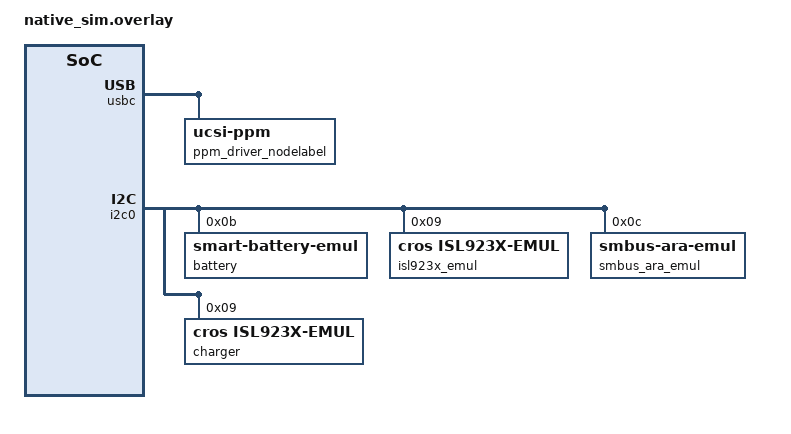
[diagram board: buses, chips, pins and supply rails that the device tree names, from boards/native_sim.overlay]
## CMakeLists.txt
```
# Copyright 2024 The ChromiumOS Authors
# Use of this source code is governed by a BSD-style license that can be
# found in the LICENSE file.

cmake_minimum_required(VERSION 3.13.1)
find_package(Zephyr REQUIRED HINTS "${ZEPHYR_BASE}")
project(pdc)

# Include FFF fakes
add_subdirectory(${PLATFORM_EC}/zephyr/test/test_utils test_utils)

zephyr_include_directories(include)

target_sources(app PRIVATE src/main.c)
target_sources(app PRIVATE src/fakes.c)

target_sources_ifdef(CONFIG_TEST_PDC_MESSAGE_TRACING  app PRIVATE
	src/util_pcap.c
	src/pdc_trace_msg.c)

if (DEFINED CONFIG_TEST_SUITE_PDC_API)
	target_sources(app PRIVATE src/generic/pdc_api.c)
endif()

if (DEFINED CONFIG_TEST_SUITE_PDC_GENERIC)
	target_sources(app PRIVATE src/generic/pdc_attached_snk.c)
	target_sources(app PRIVATE src/generic/pdc_power_mgmt_api.c)
	target_sources(app PRIVATE src/generic/pdc_pmc_debug_api.c)
	target_sources_ifdef(CONFIG_PDC_RUNTIME_PORT_CONFIG
		app PRIVATE src/board_runtime_config.c)
endif()

if (DEFINED CONFIG_TEST_SUITE_PDC_UTILS)
	target_sources(app PRIVATE src/generic/usb_utils.c)
endif()

if (DEFINED CONFIG_TEST_SUITE_PDC_POLICY)
	target_sources(app PRIVATE src/pdc_policy/non_pd_policy.c)
	target_sources(app PRIVATE src/pdc_policy/select_best_pdo.c)
	target_sources(app PRIVATE src/pdc_policy/src_policy_common.c)
	target_sources(app PRIVATE src/pdc_policy/src_policy_3a_port.c)
	target_sources(app PRIVATE src/pdc_policy/src_policy_battery_overload.c)
endif()

if (DEFINED CONFIG_TEST_SUITE_PDC_POLICY_SRC_NO_3A)
	target_sources(app PRIVATE src/pdc_policy/src_policy_common.c)
	target_sources(app PRIVATE src/pdc_policy/src_policy_no_3a_port.c)
endif()

if (DEFINED CONFIG_TEST_SUITE_PDC_POLICY_SINK)
	target_sources(app PRIVATE src/pdc_policy/sink_policy.c)
endif()

if (DEFINED CONFIG_TEST_SUITE_PDC_BATTERY_STATUS)
	target_sources(app PRIVATE src/generic/pdc_battery_status.c)
endif()

if (DEFINED CONFIG_TEST_PDC_POLICY_DEAD_BATTERY_TWO_CHARGERS)
	target_sources(app PRIVATE src/pdc_policy/dead_battery_policy.c)
	target_sources(app PRIVATE src/pdc_policy/dead_battery_two_chargers.c)
endif()

if (DEFINED CONFIG_TEST_PDC_POLICY_DEAD_BATTERY_AC_ONLY_AP_ON)
	target_sources(app PRIVATE src/pdc_policy/dead_battery_policy.c)
	target_sources(app PRIVATE src/pdc_policy/dead_battery_ac_only_ap_on.c)
endif()

if (DEFINED CONFIG_TEST_PDC_POLICY_DEAD_BATTERY_AC_ONLY_AP_OFF)
	target_sources(app PRIVATE src/pdc_policy/dead_battery_policy.c)
	target_sources(app PRIVATE src/pdc_policy/dead_battery_ac_only_ap_off.c)
endif()

if (DEFINED CONFIG_TEST_SUITE_PDC_POLICY_CLAMPED)
	target_sources(app PRIVATE src/pdc_policy/select_best_pdo_clamped.c)
endif()

if (DEFINED CONFIG_TEST_SUITE_PDC_POLICY_VARIABLE)
	target_sources(app PRIVATE src/pdc_policy/select_best_pdo_variable.c)
endif()

if (DEFINED CONFIG_TEST_SUITE_PDC_API_NULL_CHECK)
	target_sources(app PRIVATE src/generic/pdc_null_api.c)
endif()

if (DEFINED CONFIG_TEST_SUITE_PDC_DEVICE_NOT_READY)
	target_sources(app PRIVATE src/generic/device_not_ready.c)
endif()

if (DEFINED CONFIG_TEST_SUITE_PDC_RTS54XX)
	target_sources(app PRIVATE src/rts54xx/rts54xx.c)
endif()

if (DEFINED CONFIG_TEST_SUITE_PDC_IT52XX)
	target_sources(app PRIVATE src/it52xx/it52xx.c)
endif()

if (DEFINED CONFIG_TEST_SUITE_PDC_TPS6699X)
	zephyr_include_directories(${PLATFORM_EC}/zephyr/drivers/usbc)
	target_sources(app PRIVATE src/tps6699x/tps6699x.c)
endif()

if (DEFINED CONFIG_TEST_SUITE_PDC_RETIMER_FW_UPDATE)
	target_sources(app PRIVATE src/generic/retimer_fw_update.c)
endif()

if (DEFINED CONFIG_TEST_SUITE_PDC_CONSOLE)
	target_sources(app PRIVATE src/generic/pdc_console.c)
	target_sources(app PRIVATE src/mock_pdc_power_mgmt.c)
endif()

if (DEFINED CONFIG_TEST_SUITE_PDC_HOSTCMD)
	target_sources(app PRIVATE src/generic/pdc_host_cmd.c)
	target_sources(app PRIVATE src/mock_pdc_power_mgmt.c)
endif()

if (DEFINED CONFIG_TEST_SUITE_UCSI_HOSTCMD)
	target_sources(app PRIVATE src/generic/ucsi_host_cmd.c)
	target_sources(app PRIVATE ${PLATFORM_EC}/zephyr/subsys/ucsi/ucsi_host_cmd.c)
endif()

if (DEFINED CONFIG_TEST_SUITE_PPM)
	zephyr_include_directories(${PLATFORM_EC}/zephyr/subsys/ucsi)
	target_sources(app PRIVATE src/generic/ppm.c)
	target_sources(app PRIVATE src/generic/ucsi_ppm_host_cmd.c)
	target_sources_ifdef(CONFIG_PDC_RUNTIME_PORT_CONFIG
		app PRIVATE src/board_runtime_config.c)
endif()

if (DEFINED CONFIG_TEST_SUITE_PPM_CONSOLE)
	target_sources(app PRIVATE ${PLATFORM_EC}/zephyr/subsys/ucsi/ppm_console.c)
	target_sources(app PRIVATE src/generic/ppm_console.c)
endif()

if (DEFINED CONFIG_TEST_SUITE_PDC_PMC_USB_MUX)
	target_sources(app PRIVATE src/generic/pdc_pmc_usb_mux.c)
endif()

if (DEFINED CONFIG_TEST_SUITE_PPM_DRIVER)
	target_sources(app PRIVATE src/generic/ppm_driver.c)
	target_sources(app PRIVATE ${PLATFORM_EC}/zephyr/subsys/ucsi/ppm_driver.c)
endif()

if (DEFINED CONFIG_TEST_SUITE_PDC_UCSI)
	target_sources(app PRIVATE src/ucsi/ucsi.c)
endif()

if (DEFINED CONFIG_TEST_SUITE_PPM_STATE_MACHINE)
	target_sources(app PRIVATE src/generic/ppm_state_machine.c)

	zephyr_include_directories(${PLATFORM_EC}/zephyr/subsys/ucsi)
	target_sources(app PRIVATE ${PLATFORM_EC}/zephyr/subsys/ucsi/ppm_common.c)
endif()

if (DEFINED CONFIG_TEST_SUITE_PDC_TRACE_MSG)
	target_sources(app PRIVATE src/generic/pdc_trace_msg.c)
endif()

if (DEFINED CONFIG_TEST_SUITE_PDC_RUNTIME_PORT_CONFIG)
	target_sources_ifdef(CONFIG_TEST_PDC_RUNTIME_CONFIG_SCENARIO_NO_PDCS
		app PRIVATE src/runtime_config/no_pdcs.c)
	target_sources_ifdef(CONFIG_TEST_PDC_RUNTIME_CONFIG_SCENARIO_ONE_PDC
		app PRIVATE src/runtime_config/one_pdc.c)
	target_sources_ifdef(CONFIG_TEST_PDC_RUNTIME_CONFIG_SCENARIO_DISCONT
		app PRIVATE src/runtime_config/discontiguous.c)
	target_sources_ifdef(CONFIG_TEST_PDC_RUNTIME_CONFIG_SCENARIO_TWO_PDCS
		app PRIVATE src/runtime_config/two_pdcs.c)
endif()

if (DEFINED CONFIG_TEST_SUITE_PDC_COMMS_SUSPEND_RESUME)
	target_sources(app PRIVATE src/generic/pdc_comms_suspend_resume.c)
endif()
```

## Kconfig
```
# Copyright 2024 The ChromiumOS Authors
# Use of this source code is governed by a BSD-style license that can be
# found in the LICENSE file.

config TEST_NO_PDC_INIT
	bool "Do not autoinit pdc devices"

config TEST_SUITE_PDC_API
	bool "Enable generic PDC driver API tests"

config TEST_SUITE_PDC_GENERIC
	bool "Enable generic pdc_power_mgmt tests"

config TEST_SUITE_PDC_UTILS
	bool "Enable PDC utility tests"

config TEST_SUITE_PDC_API_NULL_CHECK
	bool "Enable PDC API null-protection checks"

config TEST_SUITE_PDC_DEVICE_NOT_READY
	bool "Enable PDC subsystem tests for device-not-ready"

config TEST_SUITE_PDC_POLICY
	bool "Enable PDC policy tests"

config TEST_SUITE_PDC_POLICY_SRC_NO_3A
	bool "Enable PDC src policy tests with no 3A port"

config TEST_SUITE_PDC_POLICY_SINK
	bool "Enable PDC policy sink tests"

config TEST_SUITE_PDC_BATTERY_STATUS
  bool "Enable PDC battery status tests"

config TEST_SUITE_PDC_POLICY_DEAD_BATTERY
	bool "Enable PDC Dead Battery policy tests"

config TEST_SUITE_PDC_COMMS_SUSPEND_RESUME
	bool "Enable PDC communication suspend and resume tests"

config TEST_PDC_POLICY_DEAD_BATTERY_TWO_CHARGERS
	select TEST_SUITE_PDC_POLICY_DEAD_BATTERY
	bool "Validate dead battery with two connected chargers"

config TEST_PDC_POLICY_DEAD_BATTERY_AC_ONLY_AP_ON
	select TEST_SUITE_PDC_POLICY_DEAD_BATTERY
	bool "Validate dead battery with AC connected, no battery, and AP on"

config TEST_PDC_POLICY_DEAD_BATTERY_AC_ONLY_AP_OFF
	select TEST_SUITE_PDC_POLICY_DEAD_BATTERY
	bool "Validate dead battery with AC connected, no battery, and AP off"

config TEST_SUITE_PDC_POLICY_CLAMPED
	bool "Enable PDC policy tests with clamped power"

config TEST_SUITE_PDC_POLICY_VARIABLE
	bool "Enable PDC policy tests to verify variabled PDOs"

config TEST_SUITE_PDC_PMC_USB_MUX
	bool "Enable PDC PMC USB mux tests"

config TEST_SUITE_PDC_RTS54XX
	bool "Enable RTS54xx PDC tests"

config TEST_SUITE_PDC_TPS6699X
	bool "Enable TPS6699x PDC tests"

config TODO_B_345292002
	bool "Disable tests that fail for TPS6699x PDC config"
	help
	  Enable this config for pdc.generic.tps6699x to disable tests that
	  currently fail. As b/345292002 progresses, the amount of code
	  protected by this config should go down.

config TEST_SUITE_PDC_RETIMER_FW_UPDATE
	bool "Enable retimer FW update tests"

config TEST_SUITE_PDC_CONSOLE
	bool "Enable pdc console command tests"

config TEST_SUITE_PDC_HOSTCMD
	bool "Enable PDC host command tests"

config TEST_SUITE_UCSI_HOSTCMD
	bool "Enable UCSI host command tests"

config TEST_SUITE_PPM
	bool "Enable UCSI PPM tests"
	help
	  Enable tests for the PPM of the UCSI. This suite tests our PPM from
	  the perspective of the UCSI spec. All layers use the actual code
	  (ppm_common, ppm_driver, pdc_driver) and mocking is discouraged.
	  Inputs to the tests are controlled through a PDC emulator.

config TEST_SUITE_PPM_CONSOLE
	bool "Enable tests for the `ppm` console command"
	help
	  Run a test suite covering the `ppm` console command, which sends
	  various UCSI commands from the EC console for testing and debugging
	  purposes.

config TEST_SUITE_PPM_DRIVER
	bool "Enable PPM driver tests"
	help
	  Enable tests for the lower layer (ppm_driver) of the PPM. This suite
	  exercises the behaviors specific to the implementation. Mocking the
	  upper layer (ppm_common) and lower layer (pdc driver) is used to cover
	  corner cases.

config TEST_SUITE_PDC_UCSI
	bool "Enable UCSI tests"

config TEST_SUITE_PPM_STATE_MACHINE
	bool "Enable PPM state machine tests"
	help
	  Enable tests for the state machine (ppm_common) of the PPM.

config TEST_PDC_MESSAGE_TRACING
	bool "Enable PDC message tracing"
	help
	  Capture PDC messages between the EC and the PDC chip. These
	  can be standard UCSI messages or vendor specific messages such
	  as those defined for the rts54xx chip. Message data is
	  reported in the test run logs and in a separate "rts.pcap"
	  file in PCAP capture file format.

config TEST_SUITE_PDC_TRACE_MSG
	bool "Enable PDC message tracing tests"
	depends on !TEST_PDC_MESSAGE_TRACING
	help
	  No help.

	  These tests are incompatible with TEST_PDC_MESSAGE_TRACING
	  since that config enables an alternate implementation of the
	  code to be tested here.

config TEST_DISABLE_INLINE_CHIPSET_IN_STATE
	bool "Disable chipset_in_state inline method"
	help
	  This is used to not define chipset_in_state method as inline
	  function.

config TEST_SUITE_PDC_RUNTIME_PORT_CONFIG
	bool "Enable PDC runtime port config tests"
	help
	  Run tests for the runtime USB-C port configuration feature

config TEST_SKIP_EC_APP_MAIN
	bool "Skip running ec_app_main()"
	help
	  Some tests intentionally create errors, like incorrect
	  initialization order, and verify the error handling paths.
	  The ec_app_main() is broken in these cases.

choice TEST_PDC_RUNTIME_CONFIG_SCENARIO
	prompt "Select a PDC topology to set up at runtime"
	depends on TEST_SUITE_PDC_RUNTIME_PORT_CONFIG

config TEST_PDC_RUNTIME_CONFIG_SCENARIO_NO_PDCS
	bool "Cause an error while reading board PDC config"
	help
	  Return an error from `board_get_pdc_for_port()`, causing no PDCs to be
	  initialized.

config TEST_PDC_RUNTIME_CONFIG_SCENARIO_ONE_PDC
	bool "Enable C0 but not C1"
	help
	  Activate one of two ports from `board_get_pdc_for_port()`

config TEST_PDC_RUNTIME_CONFIG_SCENARIO_DISCONT
	bool "Disable C0 but enable C1"
	help
	  Activate only the second port from `board_get_pdc_for_port()`

config TEST_PDC_RUNTIME_CONFIG_SCENARIO_TWO_PDCS
	bool "Enable C0 and enable C1"
	help
	  Activate both ports from `board_get_pdc_for_port()`

endchoice

config TEST_PDC_DISABLE_C1
	bool "Don't initialize port C1"
	depends on PDC_RUNTIME_PORT_CONFIG
	help
	  Use this when testing runtime port configuration to enable only one
	  of the two PDC ports.

config TEST_SNIFF_POWER_MGMT_PDC_APIS
	bool "Enable PDC sniffing APIs in pdc_power_mgmt for tests"
	help
	  This is used to allow tests to create sniffing PDC APIs in
	  pdc_power_mgmt.c that can be mocked in tests.

configdefault PLATFORM_EC_CHARGER_ISL9238
	default y if DT_HAS_INTERSIL_ISL923X_ENABLED || DT_HAS_CROS_ISL923X_EMUL_ENABLED

configdefault PLATFORM_EC_CHARGER_RAA489110
	default y if DT_HAS_INTERSIL_ISL9241_ENABLED

configdefault FLASH
	default y if DT_HAS_CROS_EC_FLASH_EMUL_ENABLED

configdefault ESPI
	default y if DT_HAS_ZEPHYR_ESPI_EMUL_ESPI_HOST_ENABLED

configdefault I2C_INIT_PRIORITY
	default 39 if DT_HAS_INTERSIL_ISL9241_ENABLED

source "Kconfig.zephyr"
```

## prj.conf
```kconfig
# Copyright 2024 The ChromiumOS Authors
# Use of this source code is governed by a BSD-style license that can be
# found in the LICENSE file.

CONFIG_ZTEST=y

# Basic EC functions
CONFIG_SHIMMED_TASKS=y
CONFIG_CROS_EC=y
CONFIG_PLATFORM_EC=y
CONFIG_PLATFORM_EC_HOOKS=y
CONFIG_PLATFORM_EC_HOSTCMD=y

# Disable CONFIG_PLATFORM_EC_DEBUG_ASSERT to avoid
# assert_post_action conflict
CONFIG_PLATFORM_EC_DEBUG_ASSERT=n

# Console
CONFIG_PLATFORM_EC_CONSOLE_DEBUG=y
CONFIG_SHELL_BACKEND_DUMMY=y
CONFIG_SHELL_BACKEND_DUMMY_BUF_SIZE=1000
CONFIG_SHELL_BACKEND_SERIAL=n
CONFIG_SERIAL=y

# Logging is configured to send output to the shell, disable
# the UART backed to prevent duplicate messages in the output.
CONFIG_LOG_BACKEND_UART=n

# Emulated PDC
CONFIG_EMUL=y

# Disable BC1.2
CONFIG_PLATFORM_EC_USB_CHARGER=n

CONFIG_PLATFORM_EC_CHARGER=y
CONFIG_PLATFORM_EC_CHARGER_SENSE_RESISTOR=10
CONFIG_PLATFORM_EC_CHARGER_SENSE_RESISTOR_AC=10

# Turn off other unneeded features
CONFIG_AP_PWRSEQ=n
CONFIG_PLATFORM_EC_BACKLIGHT_LID=n
CONFIG_PLATFORM_EC_VBOOT_HASH=n
CONFIG_PLATFORM_EC_SWITCH=n
CONFIG_PLATFORM_EC_USBC_SS_MUX=n

# Disable [TCPMv2] Power Delivery Function
CONFIG_PLATFORM_EC_USB_POWER_DELIVERY=n
CONFIG_PLATFORM_EC_USBC_PPC=n
CONFIG_PLATFORM_EC_USB_PD_PPC=n
CONFIG_PLATFORM_EC_HOSTCMD_PD_CONTROL=n
CONFIG_PLATFORM_EC_HOSTCMD_RWHASHPD=n

# Disable typec host commands until a PDC counterpart exists.
CONFIG_PLATFORM_EC_HOSTCMD_TYPEC_DISCOVERY=n
CONFIG_PLATFORM_EC_HOSTCMD_TYPEC_CONTROL=n
CONFIG_PLATFORM_EC_HOSTCMD_TYPEC_STATUS=n
CONFIG_PLATFORM_EC_HOSTCMD_PD_CHIP_INFO=n

# Use PD Controller
CONFIG_PLATFORM_EC_USBC=y
CONFIG_PLATFORM_EC_USB_PD_CONTROLLER=y
CONFIG_PLATFORM_EC_USB_PD_VBUS_MEASURE_NOT_PRESENT=y
CONFIG_PLATFORM_EC_USB_PD_DISCHARGE=n

# Test PDC-driven CCD
CONFIG_USBC_PDC_DRIVEN_CCD=y

# Allow more time in unit tests for the PDC Power Mgmt state machine to reach
# a steady state. TODO(b/372259212): Investigate what's holding up the sequence
CONFIG_PDC_POWER_MGMT_STATE_MACHINE_SETTLED_TIMEOUT_MS=2500

# Charger
CONFIG_PLATFORM_EC_BATTERY_PRESENT_CUSTOM=y
CONFIG_PLATFORM_EC_BATTERY_FUEL_GAUGE=y
CONFIG_PLATFORM_EC_CHARGER_SENSE_RESISTOR=10
CONFIG_PLATFORM_EC_CHARGER_SENSE_RESISTOR_AC=20
CONFIG_PLATFORM_EC_CHARGER_MIN_POWER_MW_FOR_POWER_ON=30000
CONFIG_PLATFORM_EC_CHARGER_MIN_POWER_MW_FOR_POWER_ON_WITH_BATT=15000

CONFIG_USB_PDC_POWER_MGMT=y

# Print logs from Zephyr LOG_MODULE to stdout
CONFIG_UART_NATIVE_PTY_0_ON_STDINOUT=y
CONFIG_LOG_BACKEND_SHOW_COLOR=n

CONFIG_PLATFORM_EC_USB_PD_VBUS_MEASURE_NOT_PRESENT=y
CONFIG_PDC_POWER_MGMT_SRC_PDO_PEAK_OCP_150=y

# Test battery overload
CONFIG_PDC_POWER_MGMT_SRC_THROTTLING=n
```

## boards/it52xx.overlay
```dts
/* Copyright 2026 The ChromiumOS Authors
 * Use of this source code is governed by a BSD-style license that can be
 * found in the LICENSE file.
 */

#include "native_sim.overlay"

&i2c0 {
	pdc_emul1: it52xx-pdc@26 {
		compatible = "ite,it52xx-pdc";
		reg = <0x26>;
		irq-gpios = <&gpiof 5 (GPIO_PULL_UP | GPIO_ACTIVE_LOW)>;
		port-index-on-chip = <1>;
		ccd;
	};

	pdc_emul2: it52xx-pdc@27 {
		compatible = "ite,it52xx-pdc";
		reg = <0x27>;
		irq-gpios = <&gpiof 6 (GPIO_PULL_UP | GPIO_ACTIVE_LOW)>;
		port-index-on-chip = <1>;
	};
};
```

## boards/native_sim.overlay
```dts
/* Copyright 2024 The ChromiumOS Authors
 * Use of this source code is governed by a BSD-style license that can be
 * found in the LICENSE file.
 */

#include <board-overlays/native_sim.dts>
#include <it8xxx2_emul.dts>
#include <usbc-policy.dtsi>

/ {
	usbc {
		#address-cells = <1>;
		#size-cells = <0>;

		/* Configure just the DB port
		 */
		usbc0: port0@0 {
			compatible = "named-usbc-port";
			reg = <0>;
			chg = <&charger>;
			pdc = <&pdc_emul1>;
			chg = <&isl923x_emul>;
			policy = <&cros_policy>;
			pd-retimer;
			usb-mux-chain-0 {
				compatible = "cros-ec,usb-mux-chain";
				usb-muxes = <&virtual_mux_0>;
			};
		};

		port0-muxes {
			virtual_mux_0: virtual-mux-0 {
				compatible = "cros-ec,usbc-mux-virtual";
			};
		};

		usbc1: port1@1 {
			compatible = "named-usbc-port";
			reg = <1>;
			pdc = <&pdc_emul2>;
			policy = <&cros_policy>;
			pd-retimer;
			usb-mux-chain-1 {
				compatible = "cros-ec,usb-mux-chain";
				usb-muxes = <&virtual_mux_1>;
			};
		};

		port1-muxes {
			virtual_mux_1: virtual-mux-1 {
				compatible = "cros-ec,usbc-mux-virtual";
			};
		};

		ppm_driver_nodelabel: ppm-driver {
			compatible = "ucsi-ppm";
		};
	};

	batteries {
		default_battery: lgc_ac17a8m {
			compatible = "lgc,ac17a8m", "battery-smart";
		};
	};

	named-i2c-ports {
		compatible = "named-i2c-ports";

		i2c_ec_i2c_usb_c0: ec_i2c_usb_c0 {
			i2c-port = <&i2c0>;
			enum-names = "I2C_PORT_USB_C0_TCPC";
		};

		i2c_ec_i2c_charger: ec_i2c_charger {
			i2c-port = <&i2c0>;
			enum-names = "I2C_PORT_BATTERY";
		};
	};

};

&i2c0 {
	battery: sb@b {
		compatible = "zephyr,smart-battery-emul";
		reg = <0xb>;
		cycle-count = <6>;
		version = "BATTERY_SPEC_VER_1_1_WITH_PEC";
		desired-charg-volt = <11250>;
		desired-charg-cur = <2400>;
		mf-name = "LGC";
		dev-name = "AP18C8K";
	};

	isl923x_emul: isl923x@9 {
		compatible = "cros,isl923x-emul";
		status = "okay";
		reg = <0x09>;
		battery = <&battery>;
	};

	smbus_ara_emul: smbus_ara@c {
		compatible = "zephyr,smbus-ara-emul";
		reg = <0xc>;
	};

	charger: isl9238@9 {
		compatible = "cros,isl923x-emul";
		status = "okay";
		reg = <0x9>;
		battery = <&battery>;
	};
};

&cros_policy {
	max-discharge-current-ma = <4500>;
	max-discharge-power-mw = <41000>;
};
```

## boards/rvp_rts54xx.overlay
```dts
/* Copyright 2026 The ChromiumOS Authors
 * Use of this source code is governed by a BSD-style license that can be
 * found in the LICENSE file.
 */

/delete-node/ &dsp_service;

pdc_emul1: &pdc_rtk_c0 {};
pdc_emul2: &pdc_rtk_c1 {};
```

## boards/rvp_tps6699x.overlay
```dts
/* Copyright 2026 The ChromiumOS Authors
 * Use of this source code is governed by a BSD-style license that can be
 * found in the LICENSE file.
 */

/ {
	zephyr,user {
		test_timeout = <1850>;
		pd_version = <0>;
		pd_revision = <0>;
		project_name = "GOOG";
	};
};

/delete-node/ &dsp_service;

pdc_emul1: &pdc_ti_c0 {};
pdc_emul2: &pdc_ti_c1 {};
```

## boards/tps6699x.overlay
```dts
/* Copyright 2024 The ChromiumOS Authors
 * Use of this source code is governed by a BSD-style license that can be
 * found in the LICENSE file.
 */

#include "native_sim.overlay"

/{
        /* Leverage 'zephyr,user' node for driver specific behavior */
        zephyr,user {
                test_timeout = <1750>;
                /* TI PDC Info */
                pd_version = <0>;
                pd_revision = <0>;
                project_name = "GOOG";
        };
};

&i2c0 {
        pdc_emul1: tps6699-pdc@20 {
                compatible = "ti,tps6699-pdc";
                reg = <0x20>;
                irq-gpios = <&gpiof 5 (GPIO_PULL_UP | GPIO_ACTIVE_LOW)>;
                port-index-on-chip = <0x1>;
                ccd;
                frs-supported;
                usb-comm-capable-as-device;
        };

        pdc_emul2: tps6699-pdc@24 {
                compatible = "ti,tps6699-pdc";
                reg = <0x24>;
                irq-gpios = <&gpiof 5 (GPIO_PULL_UP | GPIO_ACTIVE_LOW)>;
                port-index-on-chip = <0x2>;
                frs-supported;
        };
};
```

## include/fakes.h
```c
/* Copyright 2025 The ChromiumOS Authors
 * Use of this source code is governed by a BSD-style license that can be
 * found in the LICENSE file.
 */

#ifndef PLATFORM_EC_ZEPHYR_TEST_PDC_INCLUDE_FAKES_H_
#define PLATFORM_EC_ZEPHYR_TEST_PDC_INCLUDE_FAKES_H_

#include "battery.h"

#include <zephyr/fff.h>

void set_battery_present(enum battery_present bp);

extern int mock_usb_pd_3a_ports;

#endif /* PLATFORM_EC_ZEPHYR_TEST_PDC_INCLUDE_FAKES_H_ */
```

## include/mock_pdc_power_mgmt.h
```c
/* Copyright 2024 The ChromiumOS Authors
 * Use of this source code is governed by a BSD-style license that can be
 * found in the LICENSE file.
 */

#include "drivers/ucsi_v3.h"
#include "usbc/pdc_power_mgmt.h"

#include <zephyr/fff.h>

/* FFF fake declarations for select functions in `pdc_power_mgmt.c` */

DECLARE_FAKE_VALUE_FUNC(int, pdc_power_mgmt_connector_reset, int,
			enum connector_reset);
DECLARE_FAKE_VALUE_FUNC(int, pdc_power_mgmt_get_cable_prop, int,
			union cable_property_t *);
DECLARE_FAKE_VALUE_FUNC(int, pdc_power_mgmt_get_connector_status, int,
			union connector_status_t *);
DECLARE_FAKE_VALUE_FUNC(int, pdc_power_mgmt_get_info, int, struct pdc_info_t *,
			bool);
DECLARE_FAKE_VALUE_FUNC(bool, pdc_power_mgmt_get_partner_data_swap_capable,
			int);
DECLARE_FAKE_VALUE_FUNC(enum pd_power_role, pdc_power_mgmt_get_power_role, int);
DECLARE_FAKE_VALUE_FUNC(const char *, pdc_power_mgmt_get_task_state_name, int);
DECLARE_FAKE_VALUE_FUNC(bool, pdc_power_mgmt_is_connected, int);
DECLARE_FAKE_VALUE_FUNC(enum pd_data_role, pdc_power_mgmt_pd_get_data_role,
			int);
DECLARE_FAKE_VALUE_FUNC(enum tcpc_cc_polarity, pdc_power_mgmt_pd_get_polarity,
			int);
DECLARE_FAKE_VOID_FUNC(pdc_power_mgmt_request_data_swap, int);
DECLARE_FAKE_VOID_FUNC(pdc_power_mgmt_request_power_swap, int);
DECLARE_FAKE_VALUE_FUNC(int, pdc_power_mgmt_reset, int);
DECLARE_FAKE_VALUE_FUNC(int, pdc_power_mgmt_set_comms_state, bool);
DECLARE_FAKE_VALUE_FUNC(int, pdc_power_mgmt_set_comms_state_for_chip, int,
			bool);
DECLARE_FAKE_VALUE_FUNC(int, pdc_power_mgmt_get_chip_for_port, int);
DECLARE_FAKE_VALUE_FUNC(int, pdc_power_mgmt_get_chip_count);
DECLARE_FAKE_VOID_FUNC(pdc_power_mgmt_set_dual_role, int,
		       enum pd_dual_role_states);
DECLARE_FAKE_VALUE_FUNC(enum pd_dual_role_states, pdc_power_mgmt_get_dual_role,
			int);
DECLARE_FAKE_VALUE_FUNC(int, pdc_power_mgmt_set_trysrc, int, bool);
DECLARE_FAKE_VOID_FUNC(pdc_power_mgmt_request_source_voltage, int, int);
DECLARE_FAKE_VALUE_FUNC(unsigned int, pdc_power_mgmt_get_max_voltage);
DECLARE_FAKE_VALUE_FUNC(uint8_t, pdc_power_mgmt_get_src_cap_cnt, int);
DECLARE_FAKE_VALUE_FUNC(const uint32_t *const, pdc_power_mgmt_get_src_caps,
			int);
DECLARE_FAKE_VALUE_FUNC(int, pdc_power_mgmt_get_lpm_ppm_info, int,
			struct lpm_ppm_info_t *);
DECLARE_FAKE_VALUE_FUNC(bool, pdc_power_mgmt_check_hpd_wake, int);
DECLARE_FAKE_VALUE_FUNC(int, pdc_power_mgmt_get_pch_data_status, int,
			uint8_t *);
DECLARE_FAKE_VALUE_FUNC(int, pdc_power_mgmt_get_rdo, int, uint32_t *);
DECLARE_FAKE_VALUE_FUNC(int, pdc_power_mgmt_get_drp_mode, int,
			enum drp_mode_t *);
DECLARE_FAKE_VALUE_FUNC(bool, pdc_power_mgmt_get_vconn_state, int);
DECLARE_FAKE_VALUE_FUNC(int, pdc_power_mgmt_get_sbu_mux_mode,
			enum pdc_sbu_mux_mode *, int *);
DECLARE_FAKE_VALUE_FUNC(int, pdc_power_mgmt_set_sbu_mux_mode,
			enum pdc_sbu_mux_mode);
DECLARE_FAKE_VALUE_FUNC(int, pdc_power_mgmt_set_bbr_cts, int, bool);
DECLARE_FAKE_VALUE_FUNC(int, pdc_power_mgmt_set_ap_power_state,
			enum power_state);
DECLARE_FAKE_VOID_FUNC(pdc_power_mgmt_simulate_power_button_press, int);

/**
 * @brief Reset the above set of fakes
 */
void helper_reset_pdc_power_mgmt_fakes(void);
```

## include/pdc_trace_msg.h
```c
/* Copyright 2024 The ChromiumOS Authors
 * Use of this source code is governed by a BSD-style license that can be
 * found in the LICENSE file.
 */

#ifndef ZEPHYR_TEST_PDC_INCLUDE_PDC_TRACE_MSG_H_
#define ZEPHYR_TEST_PDC_INCLUDE_PDC_TRACE_MSG_H_

void set_pdc_trace_msg_mocks(void);

#endif /* ZEPHYR_TEST_PDC_INCLUDE_PDC_TRACE_MSG_H_ */
```

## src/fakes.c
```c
/* Copyright 2024 The ChromiumOS Authors
 * Use of this source code is governed by a BSD-style license that can be
 * found in the LICENSE file.
 */

#include "battery.h"
#include "fakes.h"

static enum battery_present bp_val = BP_YES;

void set_battery_present(enum battery_present bp)
{
	bp_val = bp;
}

int battery_is_present(void)
{
	return bp_val;
}

__overridable const struct batt_params *charger_current_battery_params(void)
{
	static struct batt_params test_batt_params;

	test_batt_params.is_present = bp_val;
	return &test_batt_params;
}

__overridable const struct battery_static_info *battery_get_static_info(void)
{
	static const struct battery_static_info test_batt_static = {
		.design_voltage = 7700,
		.design_capacity = 5000,
	};

	return &test_batt_static;
}

int test_extpower_present = 0;
int extpower_is_present(void)
{
	return test_extpower_present;
}

#ifndef CONFIG_PLATFORM_EC_USB_PD_3A_PORTS
#define CONFIG_PLATFORM_EC_USB_PD_3A_PORTS 0
#endif
int mock_usb_pd_3a_ports = CONFIG_PLATFORM_EC_USB_PD_3A_PORTS;
int pd_get_usb_pd_3a_ports(void)
{
	return mock_usb_pd_3a_ports;
}
```

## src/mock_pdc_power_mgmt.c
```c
/* Copyright 2024 The ChromiumOS Authors
 * Use of this source code is governed by a BSD-style license that can be
 * found in the LICENSE file.
 */

#include "mock_pdc_power_mgmt.h"
#include "usbc/pdc_power_mgmt.h"

#include <zephyr/fff.h>

/* FFF fake definitions for select functions in `pdc_power_mgmt.c` */

DEFINE_FAKE_VALUE_FUNC(int, pdc_power_mgmt_connector_reset, int,
		       enum connector_reset);
DEFINE_FAKE_VALUE_FUNC(int, pdc_power_mgmt_get_cable_prop, int,
		       union cable_property_t *);
DEFINE_FAKE_VALUE_FUNC(int, pdc_power_mgmt_get_connector_status, int,
		       union connector_status_t *);
DEFINE_FAKE_VALUE_FUNC(int, pdc_power_mgmt_get_info, int, struct pdc_info_t *,
		       bool);
DEFINE_FAKE_VALUE_FUNC(bool, pdc_power_mgmt_get_partner_data_swap_capable, int);
DEFINE_FAKE_VALUE_FUNC(enum pd_power_role, pdc_power_mgmt_get_power_role, int);
DEFINE_FAKE_VALUE_FUNC(const char *, pdc_power_mgmt_get_task_state_name, int);
DEFINE_FAKE_VALUE_FUNC(bool, pdc_power_mgmt_is_connected, int);
DEFINE_FAKE_VALUE_FUNC(enum pd_data_role, pdc_power_mgmt_pd_get_data_role, int);
DEFINE_FAKE_VALUE_FUNC(enum tcpc_cc_polarity, pdc_power_mgmt_pd_get_polarity,
		       int);
DEFINE_FAKE_VOID_FUNC(pdc_power_mgmt_request_data_swap, int);
DEFINE_FAKE_VOID_FUNC(pdc_power_mgmt_request_power_swap, int);
DEFINE_FAKE_VALUE_FUNC(int, pdc_power_mgmt_reset, int);
DEFINE_FAKE_VALUE_FUNC(int, pdc_power_mgmt_set_comms_state, bool);
DEFINE_FAKE_VALUE_FUNC(int, pdc_power_mgmt_set_comms_state_for_chip, int, bool);
DEFINE_FAKE_VALUE_FUNC(int, pdc_power_mgmt_get_chip_for_port, int);
DEFINE_FAKE_VALUE_FUNC(int, pdc_power_mgmt_get_chip_count);
DEFINE_FAKE_VOID_FUNC(pdc_power_mgmt_set_dual_role, int,
		      enum pd_dual_role_states);
DEFINE_FAKE_VALUE_FUNC(enum pd_dual_role_states, pdc_power_mgmt_get_dual_role,
		       int);
DEFINE_FAKE_VALUE_FUNC(int, pdc_power_mgmt_set_trysrc, int, bool);
DEFINE_FAKE_VOID_FUNC(pdc_power_mgmt_request_source_voltage, int, int);
DEFINE_FAKE_VALUE_FUNC(unsigned int, pdc_power_mgmt_get_max_voltage);
DEFINE_FAKE_VALUE_FUNC(uint8_t, pdc_power_mgmt_get_src_cap_cnt, int);
DEFINE_FAKE_VALUE_FUNC(const uint32_t *const, pdc_power_mgmt_get_src_caps, int);
DEFINE_FAKE_VALUE_FUNC(int, pdc_power_mgmt_get_lpm_ppm_info, int,
		       struct lpm_ppm_info_t *);
DEFINE_FAKE_VALUE_FUNC(bool, pdc_power_mgmt_check_hpd_wake, int);
DEFINE_FAKE_VALUE_FUNC(int, pdc_power_mgmt_get_pch_data_status, int, uint8_t *);
DEFINE_FAKE_VALUE_FUNC(int, pdc_power_mgmt_get_rdo, int, uint32_t *);
DEFINE_FAKE_VALUE_FUNC(int, pdc_power_mgmt_get_drp_mode, int,
		       enum drp_mode_t *);
DEFINE_FAKE_VALUE_FUNC(bool, pdc_power_mgmt_get_vconn_state, int);
DEFINE_FAKE_VALUE_FUNC(int, pdc_power_mgmt_get_sbu_mux_mode,
		       enum pdc_sbu_mux_mode *, int *);
DEFINE_FAKE_VALUE_FUNC(int, pdc_power_mgmt_set_sbu_mux_mode,
		       enum pdc_sbu_mux_mode);
DEFINE_FAKE_VALUE_FUNC(int, pdc_power_mgmt_set_bbr_cts, int, bool);
DEFINE_FAKE_VALUE_FUNC(int, pdc_power_mgmt_set_ap_power_state,
		       enum power_state);
DEFINE_FAKE_VOID_FUNC(pdc_power_mgmt_simulate_power_button_press, int);

void helper_reset_pdc_power_mgmt_fakes(void)
{
	RESET_FAKE(pdc_power_mgmt_connector_reset);
	RESET_FAKE(pdc_power_mgmt_get_cable_prop);
	RESET_FAKE(pdc_power_mgmt_get_connector_status);
	RESET_FAKE(pdc_power_mgmt_get_info);
	RESET_FAKE(pdc_power_mgmt_get_partner_data_swap_capable);
	RESET_FAKE(pdc_power_mgmt_get_power_role);
	RESET_FAKE(pdc_power_mgmt_get_task_state_name);
	RESET_FAKE(pdc_power_mgmt_is_connected);
	RESET_FAKE(pdc_power_mgmt_pd_get_data_role);
	RESET_FAKE(pdc_power_mgmt_pd_get_polarity);
	RESET_FAKE(pdc_power_mgmt_request_data_swap);
	RESET_FAKE(pdc_power_mgmt_request_power_swap);
	RESET_FAKE(pdc_power_mgmt_reset);
	RESET_FAKE(pdc_power_mgmt_set_comms_state);
	RESET_FAKE(pdc_power_mgmt_set_comms_state_for_chip);
	RESET_FAKE(pdc_power_mgmt_get_chip_for_port);
	RESET_FAKE(pdc_power_mgmt_get_chip_count);
	RESET_FAKE(pdc_power_mgmt_set_dual_role);
	RESET_FAKE(pdc_power_mgmt_set_trysrc);
	RESET_FAKE(pdc_power_mgmt_request_source_voltage);
	RESET_FAKE(pdc_power_mgmt_get_max_voltage);
	RESET_FAKE(pdc_power_mgmt_get_src_cap_cnt);
	RESET_FAKE(pdc_power_mgmt_get_src_caps);
	RESET_FAKE(pdc_power_mgmt_get_lpm_ppm_info);
	RESET_FAKE(pdc_power_mgmt_check_hpd_wake);
	RESET_FAKE(pdc_power_mgmt_get_pch_data_status);
	RESET_FAKE(pdc_power_mgmt_get_rdo);
	RESET_FAKE(pdc_power_mgmt_get_drp_mode);
	RESET_FAKE(pdc_power_mgmt_get_vconn_state);
	RESET_FAKE(pdc_power_mgmt_get_sbu_mux_mode);
	RESET_FAKE(pdc_power_mgmt_set_sbu_mux_mode);
	RESET_FAKE(pdc_power_mgmt_set_bbr_cts);
	RESET_FAKE(pdc_power_mgmt_set_ap_power_state);
	RESET_FAKE(pdc_power_mgmt_simulate_power_button_press);
}
```

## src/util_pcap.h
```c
/* Copyright 2024 The ChromiumOS Authors
 * Use of this source code is governed by a BSD-style license that can be
 * found in the LICENSE file.
 */

#ifndef ZEPHYR_TEST_PDC_SRC_UTIL_PCAP_H_
#define ZEPHYR_TEST_PDC_SRC_UTIL_PCAP_H_

#include <stdio.h>

/*
 * @brief Create a PCAP file called "rts.pcap" in the
 *        test output directory and return its FILE *.
 *
 * @return FILE * of PCAP file.
 */
FILE *pcap_open(void);

/*
 * @brief Append data to PCAP file. The data is encapsulated
 *        in a PCAP entry header which includes a timestamp
 *        and data length information.
 *
 * @param pl    Pointer to data to write.
 * @param pl_sz Size of data to write.
 */
void pcap_append(FILE *fp, const void *pl, size_t pl_sz);

#endif /* ZEPHYR_TEST_PDC_SRC_UTIL_PCAP_H_ */
```
